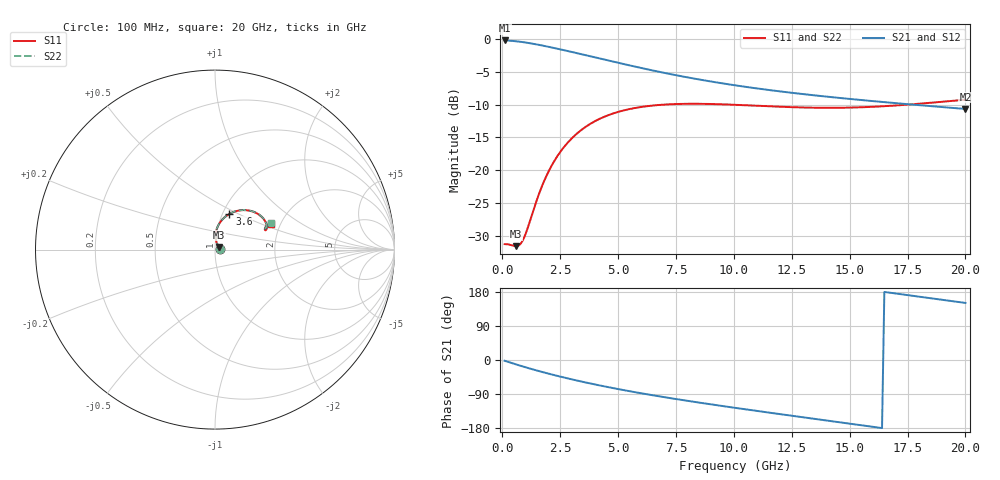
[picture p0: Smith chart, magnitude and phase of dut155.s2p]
! Touchstone file exported from HFSS 2024.1.0
!  File:  C:/UserFiles/LocalFiles/RDL_TSV_Batchsim/temp_RDL_TSV_155_1779432767.aedt
!  Generated:  03:06:23 PM May 22, 2026
!  Design:  RDL_TSV
!  Project:  temp_RDL_TSV_155_1779432767
!  Setup:  Setup1
!  Solution:  Sweep
! Variables:
!  dtsv = 11.49um
!  hbump = 3um
!  htsv = 84.38um
!  ldown = 605.88um
!  lrdl = 234.32um
!  p = 40
!  p1 = 55.1um
!  rhole = 10um
!  subl = 2754.92um
!  t = 450um
!  tdown = 2.16um
!  trdl = 3.01um
!  viad = 10um
!  wdown = 13um
!  wrdl = 21.84um
!  xbump = 18um
# GHz S MA R 50.000000
! Terminal data exported
! Port[1] = TM1_1_T1
! Port[2] = TM1_4_T1
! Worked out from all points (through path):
!   200 points, 100 MHz to 20 GHz, reference 50 ohm
!   highest |S21| = -0.25 dB at 100 MHz (marker M1); lowest = -10.7 dB at 20 GHz (marker M2)
!   group delay of S21, straight-line fit = 27 ps
!   lowest |S11| = -31.5 dB at 600 MHz (marker M3), VSWR 1.05, Z = 52.3 + j1.5 ohm
!   |S11| at or under -10 dB: start of sweep to 6.985 GHz; 9.857 GHz to 17.52 GHz (7.665 GHz wide, 56 % of centre)
!   |S22| runs from -31.5 to -9.2 dB; largest |S21 - S12| = 2.9e-14
!   S11 on the Smith chart (normalised r, x): 100 MHz: 1.06, +0.00; 3.6 GHz: 1.08, +0.45; 20 GHz: 1.78, +0.59
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0.1  0.02751 4.8  0.972 -2.0  0.972 -2.0  0.02751 4.8
! Gamma 0 0 0 0
! Port Impedance 50 0 50 0
0.6  0.02654 32.7  0.9582 -11.7  0.9582 -11.7  0.02653 32.8
0.8  0.02776 49.4  0.9489 -15.5  0.9489 -15.5  0.02776 49.5
0.9  0.02967 58.0  0.9436 -17.3  0.9436 -17.3  0.02968 58.1
1.1  0.03661 72.4  0.932 -20.9  0.932 -20.9  0.03665 72.5
1.5  0.06019 85.8  0.9058 -27.9  0.9058 -27.9  0.06032 85.9
1.7  0.07478 87.4  0.8916 -31.2  0.8916 -31.2  0.07495 87.5
2.2  0.1141 85.2  0.8548 -39.2  0.8548 -39.2  0.1144 85.3
2.8  0.1607 78.3  0.8099 -48.2  0.8099 -48.2  0.161 78.4
3.5  0.2082 69.3  0.7586 -58.0  0.7586 -58.0  0.2088 69.3
3.6  0.2143 68.0  0.7514 -59.3  0.7514 -59.3  0.2148 68.1
4.3  0.2509 59.6  0.7029 -68.3  0.7029 -68.3  0.2516 59.7
5  0.2782 52.1  0.6578 -76.7  0.6578 -76.7  0.2789 52.2
5.9  0.3015 44.0  0.6056 -86.8  0.6056 -86.8  0.3024 44.1
6.8  0.3146 37.4  0.5601 -96.1  0.5601 -96.1  0.3155 37.5
8.3  0.3209 29.2  0.4981 -110.6  0.4981 -110.6  0.3219 29.3
10.1  0.315 23.4  0.442 -126.7  0.442 -126.7  0.3161 23.5
11.7  0.3061 21.2  0.4044 -140.4  0.4044 -140.4  0.3073 21.2
13.4  0.2996 21.1  0.3732 -154.6  0.3732 -154.6  0.3008 21.2
15  0.3001 22.4  0.3493 -168.0  0.3493 -168.0  0.3012 22.4
16.7  0.3091 24.1  0.3278 177.9  0.3278 177.9  0.3101 24.1
20  0.3445 24.9  0.2931 150.6  0.2931 150.6  0.3455 24.9
